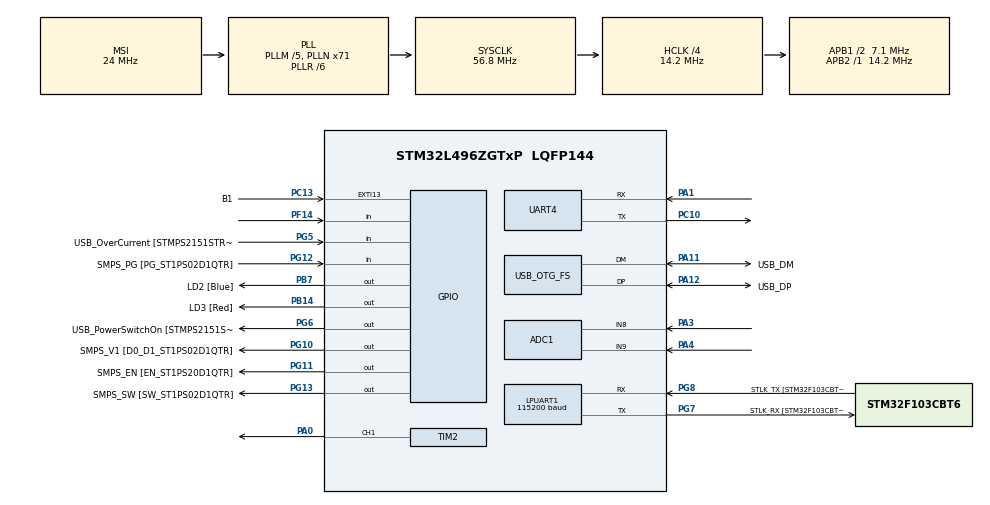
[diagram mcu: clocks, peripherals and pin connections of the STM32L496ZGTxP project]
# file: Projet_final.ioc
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ADC1.Channel-2\#ChannelRegularConversion=ADC_CHANNEL_8
ADC1.NbrOfConversionFlag=1
ADC1.OffsetNumber-2\#ChannelRegularConversion=ADC_OFFSET_NONE
ADC1.Rank-2\#ChannelRegularConversion=1
ADC1.SamplingTime-2\#ChannelRegularConversion=ADC_SAMPLETIME_2CYCLES_5
ADC1.SingleDiff-2\#ChannelRegularConversion=ADC_DIFFERENTIAL_ENDED
ADC1.master=1
LPUART1.BaudRate=115200
LPUART1.WordLength=UART_WORDLENGTH_8B
Mcu.Family=STM32L4
Mcu.Name=STM32L496ZGTxP
Mcu.Package=LQFP144
NVIC.OTG_FS_IRQn=true\:0\:0\:false\:false\:true\:true\:true\:true
NVIC.PriorityGroup=NVIC_PRIORITYGROUP_4
PA0.Signal=S_TIM2_CH1
PA1.Mode=Asynchronous
PA1.Signal=UART4_RX
PA10.GPIO_Label=USB_ID
PA10.Signal=USB_OTG_FS_ID
PA11.GPIO_Label=USB_DM
PA11.Mode=Host_Only
PA11.Signal=USB_OTG_FS_DM
PA12.GPIO_Label=USB_DP
PA12.Mode=Host_Only
PA12.Signal=USB_OTG_FS_DP
PA13\ (JTMS/SWDIO).GPIO_Label=TMS
PA13\ (JTMS/SWDIO).Mode=Serial_Wire
PA13\ (JTMS/SWDIO).Signal=SYS_JTMS-SWDIO
PA14\ (JTCK/SWCLK).GPIO_Label=TCK
PA14\ (JTCK/SWCLK).Mode=Serial_Wire
PA14\ (JTCK/SWCLK).Signal=SYS_JTCK-SWCLK
PA3.Signal=ADCx_IN8
PA4.Signal=ADCx_IN9
PA8.GPIO_Label=USB_SOF [TP1]
PA8.Signal=USB_OTG_FS_SOF
PA9.GPIO_Label=USB_VBUS
PA9.Signal=USB_OTG_FS_VBUS
PB14.GPIO_Label=LD3 [Red]
PB14.Signal=GPIO_Output
PB3\ (JTDO/TRACESWO).GPIO_Label=SWO
PB3\ (JTDO/TRACESWO).Signal=SYS_JTDO-SWO
PB7.GPIO_Label=LD2 [Blue]
PB7.Signal=GPIO_Output
PC10.Mode=Asynchronous
PC10.Signal=UART4_TX
PC13.GPIO_Label=B1
PC13.Signal=GPXTI13
PC14-OSC32_IN\ (PC14).Mode=LSE-External-Oscillator
PC14-OSC32_IN\ (PC14).Signal=RCC_OSC32_IN
PC15-OSC32_OUT\ (PC15).Mode=LSE-External-Oscillator
PC15-OSC32_OUT\ (PC15).Signal=RCC_OSC32_OUT
PF14.GPIO_PuPd=GPIO_PULLDOWN
PF14.Signal=GPIO_Input
PG10.GPIO_Label=SMPS_V1 [D0_D1_ST1PS02D1QTR]
PG10.Signal=GPIO_Output
PG11.GPIO_Label=SMPS_EN [EN_ST1PS20D1QTR]
PG11.Signal=GPIO_Output
PG12.GPIO_Label=SMPS_PG [PG_ST1PS02D1QTR]
PG12.Signal=GPIO_Input
PG13.GPIO_Label=SMPS_SW [SW_ST1PS02D1QTR]
PG13.Signal=GPIO_Output
PG5.GPIO_Label=USB_OverCurrent [STMPS2151STR_FAULT]
PG5.Signal=GPIO_Input
PG6.GPIO_Label=USB_PowerSwitchOn [STMPS2151STR_EN]
PG6.Signal=GPIO_Output
PG7.GPIO_Label=STLK_RX [STM32F103CBT6_PA3]
PG7.Mode=Asynchronous
PG7.Signal=LPUART1_TX
PG8.GPIO_Label=STLK_TX [STM32F103CBT6_PA2]
PG8.Mode=Asynchronous
PG8.Signal=LPUART1_RX
PH0-OSC_IN\ (PH0).GPIO_Label=MCO
PH0-OSC_IN\ (PH0).Signal=RCC_OSC_IN
PH1-OSC_OUT\ (PH1).Signal=RCC_OSC_OUT
ProjectManager.HeapSize=0x200
ProjectManager.StackSize=0x400
ProjectManager.TargetToolchain=STM32CubeIDE
RCC.48MHZClocksFreq_Value=24000000
RCC.ADCFreq_Value=48000000
RCC.AHBCLKDivider=RCC_SYSCLK_DIV4
RCC.AHBFreq_Value=14200000
RCC.APB1CLKDivider=RCC_HCLK_DIV2
RCC.APB1Freq_Value=7100000
RCC.APB1TimFreq_Value=14200000
RCC.APB2Freq_Value=14200000
RCC.APB2TimFreq_Value=14200000
RCC.CortexFreq_Value=14200000
RCC.HCLKFreq_Value=14200000
RCC.HSE_VALUE=8000000
RCC.HSI48_VALUE=48000000
RCC.HSI_VALUE=16000000
RCC.MSIClockRange=RCC_MSIRANGE_9
RCC.MSI_VALUE=24000000
RCC.PLLM=5
RCC.PLLMUL=RCC_PLL_MUL9
RCC.PLLN=71
RCC.PLLR=RCC_PLLR_DIV6
RCC.PLLSAI1N=20
RCC.PRESCALERUSB=RCC_USBCLKSOURCE_PLL_DIV1_5
RCC.SYSCLKFreq_VALUE=56800000
RCC.SYSCLKSource=RCC_SYSCLKSOURCE_PLLCLK
RCC.SYSCLKSourceVirtual=RCC_SYSCLKSOURCE_PLLCLK
RCC.USBFreq_Value=48000000
RCC.VCOOutputFreq_Value=340800000
SH.ADCx_IN8.0=ADC1_IN8,IN8-Differential
SH.ADCx_IN9.0=ADC1_IN9,IN8-Differential
SH.S_TIM2_CH1.0=TIM2_CH1,PWM Generation1 CH1
TIM2.Channel-PWM\ Generation1\ CH1=TIM_CHANNEL_1
USB_HOST.BSP.number=1
USB_HOST.USBH_HandleTypeDef=hUsbHostFS
USB_HOST.VirtualModeFS=Audio
USB_HOST0.BSP.STBoard=false
USB_HOST0.BSP.api=UnknownBspDriver
USB_HOST0.BSP.instance=PG6
USB_HOST0.BSP.ip=GPIO
USB_HOST0.BSP.mode=Output
USB_HOST0.BSP.name=Drive_VBUS_FS
USB_HOST0.BSP.solution=PG6
USB_OTG_FS.VirtualMode=Host_Only
USB_OTG_FS.phy_itface=HCD_PHY_EMBEDDED
VP_TIM2_VS_ClockSourceINT.Mode=Internal
VP_USB_HOST_VS_USB_HOST_AUDIO_FS.Mode=AUDIO_FS
board=NUCLEO-L496ZG-P

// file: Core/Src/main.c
/* USER CODE BEGIN Header */
/**
  ******************************************************************************
  * @file           : main.c
  * @brief          : Main program body
  ******************************************************************************
  * @attention
  *
  * Copyright (c) 2026 STMicroelectronics.
  * All rights reserved.
  *
  * This software is licensed under terms that can be found in the LICENSE file
  * in the root directory of this software component.
  * If no LICENSE file comes with this software, it is provided AS-IS.
  *
  ******************************************************************************
  */
/* USER CODE END Header */
#include "main.h"
#include "usb_host.h"

/* USER CODE BEGIN Includes */
#include "String.h"
#include "stdio.h"
/* USER CODE END Includes */

ADC_HandleTypeDef hadc1;

UART_HandleTypeDef hlpuart1;
UART_HandleTypeDef huart4;

TIM_HandleTypeDef htim2;

/* USER CODE BEGIN PV */
uint8_t mouve;
char msg1[] = "presence detecter\r\n";
char msg2[] = "aucune presence\r\n";
char msg3[] = "Allumer ampoules\r\n";
char msg4[] = "Etteindre ampoules\r\n";
/* USER CODE END PV */

void SystemClock_Config(void);
void PeriphCommonClock_Config(void);
static void MX_GPIO_Init(void);
static void MX_ADC1_Init(void);
static void MX_LPUART1_UART_Init(void);
static void MX_UART4_Init(void);
static void MX_TIM2_Init(void);
void MX_USB_HOST_Process(void);

/* USER CODE BEGIN PFP */
void Set_Servo_Angle(TIM_HandleTypeDef *htim,uint32_t channel ,uint8_t angle);
/* USER CODE END PFP */

/* USER CODE BEGIN 0 */
void Set_Servo_Angle(TIM_HandleTypeDef *htim,uint32_t channel ,uint8_t angle){
    uint32_t pulse_lenght=210+(angle*(1050-210)/180);
    __HAL_TIM_SET_COMPARE(htim,channel,pulse_lenght);

};
/* USER CODE END 0 */

int main(void)
{

  /* MCU Configuration--------------------------------------------------------*/

  /* Reset of all peripherals, Initializes the Flash interface and the Systick. */
  HAL_Init();

  /* Configure the system clock */
  SystemClock_Config();

  /* Configure the peripherals common clocks */
  PeriphCommonClock_Config();

  /* Initialize all configured peripherals */
  MX_GPIO_Init();
  MX_ADC1_Init();
  MX_LPUART1_UART_Init();
  MX_UART4_Init();
  MX_TIM2_Init();
  MX_USB_HOST_Init();
  /* USER CODE BEGIN 2 */
  HAL_TIM_PWM_Start(&htim2, TIM_CHANNEL_1);
  HAL_Delay(20);
  //TIM2->CCR1 = 500;

  /* USER CODE END 2 */

  /* Infinite loop */
  while (1)
  {
    MX_USB_HOST_Process();

    /* USER CODE BEGIN 3 */
    HAL_ADC_Start(&hadc1);

    if (HAL_ADC_PollForConversion(&hadc1, 100) == HAL_OK){
        uint32_t valeur_lumiere = HAL_ADC_GetValue(&hadc1);

        if (valeur_lumiere > 3500){
        	HAL_GPIO_WritePin(GPIOB, LD3_Pin, GPIO_PIN_SET);
        	printf("ampoule allume\n");
        	HAL_UART_Transmit (&huart4,(uint8_t *) msg3, sizeof(msg3), HAL_MAX_DELAY);
        }
        else {
        	HAL_GPIO_WritePin(GPIOB, LD3_Pin, GPIO_PIN_RESET);
        	printf("ampoule etteinte\n");
        	HAL_UART_Transmit (&huart4,(uint8_t *) msg4, sizeof(msg4), HAL_MAX_DELAY);
        }
    }

    HAL_ADC_Stop(&hadc1);
    HAL_Delay(100);

    mouve = HAL_GPIO_ReadPin(GPIOF, GPIO_PIN_14);

    if(mouve == 0){

        HAL_UART_Transmit (&huart4,(uint8_t *) msg1, sizeof(msg1), HAL_MAX_DELAY);
        HAL_GPIO_WritePin(GPIOB, LD2_Pin, GPIO_PIN_RESET);
        printf("Present \n\r");
        //TIM2->CCR1 = 1500;
        for(uint8_t angle=0; angle<=180;angle+=30){
        	        Set_Servo_Angle(&htim2,TIM_CHANNEL_1,angle);
        	        HAL_Delay(100);
        	    }
        //HAL_Delay(1000);

    }
    else if(mouve == 1){
        HAL_UART_Transmit (&huart4,(uint8_t *) msg2, sizeof(msg2), HAL_MAX_DELAY);
        HAL_GPIO_WritePin(GPIOB, LD2_Pin, GPIO_PIN_SET);
        printf("Absent \n\r");
        //TIM2->CCR1 = 500;
        for(uint8_t angle=180; angle>0;angle-=30){
        	        Set_Servo_Angle(&htim2,TIM_CHANNEL_1,angle);
        	        HAL_Delay(100);
        	               }
        //HAL_Delay(1000);

    }

    HAL_Delay(100);
  }
  /* USER CODE END 3 */
}

void SystemClock_Config(void)
{
  RCC_OscInitTypeDef RCC_OscInitStruct = {0};
  RCC_ClkInitTypeDef RCC_ClkInitStruct = {0};

  /** Configure the main internal regulator output voltage
  */
  if (HAL_PWREx_ControlVoltageScaling(PWR_REGULATOR_VOLTAGE_SCALE1) != HAL_OK)
  {
    Error_Handler();
  }

  /** Configure LSE Drive Capability
  */
  HAL_PWR_EnableBkUpAccess();
  __HAL_RCC_LSEDRIVE_CONFIG(RCC_LSEDRIVE_LOW);

  /** Initializes the RCC Oscillators according to the specified parameters
  * in the RCC_OscInitTypeDef structure.
  */
  RCC_OscInitStruct.OscillatorType = RCC_OSCILLATORTYPE_LSE|RCC_OSCILLATORTYPE_MSI;
  RCC_OscInitStruct.LSEState = RCC_LSE_ON;
  RCC_OscInitStruct.MSIState = RCC_MSI_ON;
  RCC_OscInitStruct.MSICalibrationValue = 0;
  RCC_OscInitStruct.MSIClockRange = RCC_MSIRANGE_9;
  RCC_OscInitStruct.PLL.PLLState = RCC_PLL_ON;
  RCC_OscInitStruct.PLL.PLLSource = RCC_PLLSOURCE_MSI;
  RCC_OscInitStruct.PLL.PLLM = 5;
  RCC_OscInitStruct.PLL.PLLN = 71;
  RCC_OscInitStruct.PLL.PLLP = RCC_PLLP_DIV2;
  RCC_OscInitStruct.PLL.PLLQ = RCC_PLLQ_DIV2;
  RCC_OscInitStruct.PLL.PLLR = RCC_PLLR_DIV6;
  if (HAL_RCC_OscConfig(&RCC_OscInitStruct) != HAL_OK)
  {
    Error_Handler();
  }

  /** Initializes the CPU, AHB and APB buses clocks
  */
  RCC_ClkInitStruct.ClockType = RCC_CLOCKTYPE_HCLK|RCC_CLOCKTYPE_SYSCLK
                              |RCC_CLOCKTYPE_PCLK1|RCC_CLOCKTYPE_PCLK2;
  RCC_ClkInitStruct.SYSCLKSource = RCC_SYSCLKSOURCE_PLLCLK;
  RCC_ClkInitStruct.AHBCLKDivider = RCC_SYSCLK_DIV4;
  RCC_ClkInitStruct.APB1CLKDivider = RCC_HCLK_DIV2;
  RCC_ClkInitStruct.APB2CLKDivider = RCC_HCLK_DIV1;

  if (HAL_RCC_ClockConfig(&RCC_ClkInitStruct, FLASH_LATENCY_0) != HAL_OK)
  {
    Error_Handler();
  }

  /** Enable MSI Auto calibration
  */
  HAL_RCCEx_EnableMSIPLLMode();
}

void PeriphCommonClock_Config(void)
{
  RCC_PeriphCLKInitTypeDef PeriphClkInit = {0};

  /** Initializes the peripherals clock
  */
  PeriphClkInit.PeriphClockSelection = RCC_PERIPHCLK_USB|RCC_PERIPHCLK_ADC;
  PeriphClkInit.AdcClockSelection = RCC_ADCCLKSOURCE_PLLSAI1;
  PeriphClkInit.UsbClockSelection = RCC_USBCLKSOURCE_PLLSAI1;
  PeriphClkInit.PLLSAI1.PLLSAI1Source = RCC_PLLSOURCE_MSI;
  PeriphClkInit.PLLSAI1.PLLSAI1M = 5;
  PeriphClkInit.PLLSAI1.PLLSAI1N = 20;
  PeriphClkInit.PLLSAI1.PLLSAI1P = RCC_PLLP_DIV2;
  PeriphClkInit.PLLSAI1.PLLSAI1Q = RCC_PLLQ_DIV2;
  PeriphClkInit.PLLSAI1.PLLSAI1R = RCC_PLLR_DIV2;
  PeriphClkInit.PLLSAI1.PLLSAI1ClockOut = RCC_PLLSAI1_48M2CLK|RCC_PLLSAI1_ADC1CLK;
  if (HAL_RCCEx_PeriphCLKConfig(&PeriphClkInit) != HAL_OK)
  {
    Error_Handler();
  }
}

static void MX_ADC1_Init(void)
{

  ADC_MultiModeTypeDef multimode = {0};
  ADC_ChannelConfTypeDef sConfig = {0};

  /** Common config
  */
  hadc1.Instance = ADC1;
  hadc1.Init.ClockPrescaler = ADC_CLOCK_ASYNC_DIV1;
  hadc1.Init.Resolution = ADC_RESOLUTION_12B;
  hadc1.Init.DataAlign = ADC_DATAALIGN_RIGHT;
  hadc1.Init.ScanConvMode = ADC_SCAN_DISABLE;
  hadc1.Init.EOCSelection = ADC_EOC_SINGLE_CONV;
  hadc1.Init.LowPowerAutoWait = DISABLE;
  hadc1.Init.ContinuousConvMode = DISABLE;
  hadc1.Init.NbrOfConversion = 1;
  hadc1.Init.DiscontinuousConvMode = DISABLE;
  hadc1.Init.ExternalTrigConv = ADC_SOFTWARE_START;
  hadc1.Init.ExternalTrigConvEdge = ADC_EXTERNALTRIGCONVEDGE_NONE;
  hadc1.Init.DMAContinuousRequests = DISABLE;
  hadc1.Init.Overrun = ADC_OVR_DATA_PRESERVED;
  hadc1.Init.OversamplingMode = DISABLE;
  if (HAL_ADC_Init(&hadc1) != HAL_OK)
  {
    Error_Handler();
  }

  /** Configure the ADC multi-mode
  */
  multimode.Mode = ADC_MODE_INDEPENDENT;
  if (HAL_ADCEx_MultiModeConfigChannel(&hadc1, &multimode) != HAL_OK)
  {
    Error_Handler();
  }

  /** Configure Regular Channel
  */
  sConfig.Channel = ADC_CHANNEL_8;
  sConfig.Rank = ADC_REGULAR_RANK_1;
  sConfig.SamplingTime = ADC_SAMPLETIME_2CYCLES_5;
  sConfig.SingleDiff = ADC_DIFFERENTIAL_ENDED;
  sConfig.OffsetNumber = ADC_OFFSET_NONE;
  sConfig.Offset = 0;
  if (HAL_ADC_ConfigChannel(&hadc1, &sConfig) != HAL_OK)
  {
    Error_Handler();
  }

}

static void MX_LPUART1_UART_Init(void)
{

  hlpuart1.Instance = LPUART1;
  hlpuart1.Init.BaudRate = 115200;
  hlpuart1.Init.WordLength = UART_WORDLENGTH_8B;
  hlpuart1.Init.StopBits = UART_STOPBITS_1;
  hlpuart1.Init.Parity = UART_PARITY_NONE;
  hlpuart1.Init.Mode = UART_MODE_TX_RX;
  hlpuart1.Init.HwFlowCtl = UART_HWCONTROL_NONE;
  hlpuart1.Init.OneBitSampling = UART_ONE_BIT_SAMPLE_DISABLE;
  hlpuart1.AdvancedInit.AdvFeatureInit = UART_ADVFEATURE_NO_INIT;
  if (HAL_UART_Init(&hlpuart1) != HAL_OK)
  {
    Error_Handler();
  }

}

static void MX_UART4_Init(void)
{

  huart4.Instance = UART4;
  huart4.Init.BaudRate = 115200;
  huart4.Init.WordLength = UART_WORDLENGTH_8B;
  huart4.Init.StopBits = UART_STOPBITS_1;
  huart4.Init.Parity = UART_PARITY_NONE;
  huart4.Init.Mode = UART_MODE_TX_RX;
  huart4.Init.HwFlowCtl = UART_HWCONTROL_NONE;
  huart4.Init.OverSampling = UART_OVERSAMPLING_16;
  huart4.Init.OneBitSampling = UART_ONE_BIT_SAMPLE_DISABLE;
  huart4.AdvancedInit.AdvFeatureInit = UART_ADVFEATURE_NO_INIT;
  if (HAL_UART_Init(&huart4) != HAL_OK)
  {
    Error_Handler();
  }

}

static void MX_TIM2_Init(void)
{

  TIM_ClockConfigTypeDef sClockSourceConfig = {0};
  TIM_MasterConfigTypeDef sMasterConfig = {0};
  TIM_OC_InitTypeDef sConfigOC = {0};

  htim2.Instance = TIM2;
  htim2.Init.Prescaler = 139;
  htim2.Init.CounterMode = TIM_COUNTERMODE_UP;
  htim2.Init.Period = 1999;
  htim2.Init.ClockDivision = TIM_CLOCKDIVISION_DIV1;
  htim2.Init.AutoReloadPreload = TIM_AUTORELOAD_PRELOAD_DISABLE;
  if (HAL_TIM_PWM_Init(&htim2) != HAL_OK)
  {
    Error_Handler();
  }
  sMasterConfig.MasterOutputTrigger = TIM_TRGO_RESET;
  sMasterConfig.MasterSlaveMode = TIM_MASTERSLAVEMODE_DISABLE;
  if (HAL_TIMEx_MasterConfigSynchronization(&htim2, &sMasterConfig) != HAL_OK)
  {
    Error_Handler();
  }
  sConfigOC.OCMode = TIM_OCMODE_PWM1;
  sConfigOC.Pulse = 0;
  sConfigOC.OCPolarity = TIM_OCPOLARITY_HIGH;
  sConfigOC.OCFastMode = TIM_OCFAST_DISABLE;
  if (HAL_TIM_PWM_ConfigChannel(&htim2, &sConfigOC, TIM_CHANNEL_1) != HAL_OK)
  {
    Error_Handler();
  }
  HAL_TIM_MspPostInit(&htim2);

}

static void MX_GPIO_Init(void)
{
  GPIO_InitTypeDef GPIO_InitStruct = {0};

  /* GPIO Ports Clock Enable */
  __HAL_RCC_GPIOC_CLK_ENABLE();
  __HAL_RCC_GPIOH_CLK_ENABLE();
  __HAL_RCC_GPIOA_CLK_ENABLE();
  __HAL_RCC_GPIOF_CLK_ENABLE();
  __HAL_RCC_GPIOB_CLK_ENABLE();
  __HAL_RCC_GPIOG_CLK_ENABLE();
  HAL_PWREx_EnableVddIO2();

  /*Configure GPIO pin Output Level */
  HAL_GPIO_WritePin(GPIOB, LD3_Pin|LD2_Pin, GPIO_PIN_RESET);

  /*Configure GPIO pin Output Level */
  HAL_GPIO_WritePin(GPIOG, USB_PowerSwitchOn_Pin|SMPS_V1_Pin|SMPS_EN_Pin|SMPS_SW_Pin, GPIO_PIN_RESET);

  /*Configure GPIO pin : B1_Pin */
  GPIO_InitStruct.Pin = B1_Pin;
  GPIO_InitStruct.Mode = GPIO_MODE_IT_RISING;
  GPIO_InitStruct.Pull = GPIO_NOPULL;
  HAL_GPIO_Init(B1_GPIO_Port, &GPIO_InitStruct);

  /*Configure GPIO pin : PF14 */
  GPIO_InitStruct.Pin = GPIO_PIN_14;
  GPIO_InitStruct.Mode = GPIO_MODE_INPUT;
  GPIO_InitStruct.Pull = GPIO_PULLDOWN;
  HAL_GPIO_Init(GPIOF, &GPIO_InitStruct);

  /*Configure GPIO pins : LD3_Pin LD2_Pin */
  GPIO_InitStruct.Pin = LD3_Pin|LD2_Pin;
  GPIO_InitStruct.Mode = GPIO_MODE_OUTPUT_PP;
  GPIO_InitStruct.Pull = GPIO_NOPULL;
  GPIO_InitStruct.Speed = GPIO_SPEED_FREQ_LOW;
  HAL_GPIO_Init(GPIOB, &GPIO_InitStruct);

  /*Configure GPIO pins : USB_OverCurrent_Pin SMPS_PG_Pin */
  GPIO_InitStruct.Pin = USB_OverCurrent_Pin|SMPS_PG_Pin;
  GPIO_InitStruct.Mode = GPIO_MODE_INPUT;
  GPIO_InitStruct.Pull = GPIO_NOPULL;
  HAL_GPIO_Init(GPIOG, &GPIO_InitStruct);

  /*Configure GPIO pins : USB_PowerSwitchOn_Pin SMPS_V1_Pin SMPS_EN_Pin SMPS_SW_Pin */
  GPIO_InitStruct.Pin = USB_PowerSwitchOn_Pin|SMPS_V1_Pin|SMPS_EN_Pin|SMPS_SW_Pin;
  GPIO_InitStruct.Mode = GPIO_MODE_OUTPUT_PP;
  GPIO_InitStruct.Pull = GPIO_NOPULL;
  GPIO_InitStruct.Speed = GPIO_SPEED_FREQ_LOW;
  HAL_GPIO_Init(GPIOG, &GPIO_InitStruct);

}

/* USER CODE BEGIN 4 */
int _write(int fd, char* ptr, int len) {
	HAL_UART_Transmit (&hlpuart1,(uint8_t *) ptr, len, HAL_MAX_DELAY);

	return len;
}
/* USER CODE END 4 */

void Error_Handler(void)
{
  __disable_irq();
  while (1)
  {
  }
}
